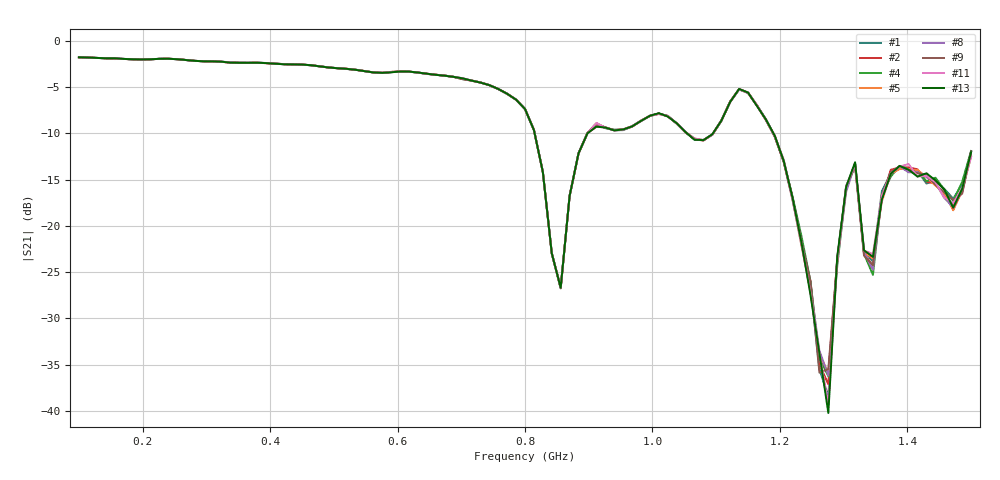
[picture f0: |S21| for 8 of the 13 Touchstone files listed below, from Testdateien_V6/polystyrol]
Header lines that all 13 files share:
! NanoVNA-App
! Start: 100MHz Stop: 1,5GHz Points: 101
! S-Parameter data: F S11 S21 S12 S22
# Hz S RI R 50
!  Frequency  S11_Real  S11_Imag  S21_Real  S21_Imag  S12_Real  S12_Imag  S22_Real  S22_Imag
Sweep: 100 MHz to 1.5 GHz
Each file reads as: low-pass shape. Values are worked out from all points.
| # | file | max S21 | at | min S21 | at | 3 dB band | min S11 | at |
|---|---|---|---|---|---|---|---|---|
| 1 | polystyrol (104).s2p | -1.79 dB | 100 MHz | -38.4 dB | 1.276 GHz | 100 MHz-730 MHz | -39.2 dB | 128 MHz |
| 2 | polystyrol (107).s2p | -1.79 dB | 100 MHz | -37.1 dB | 1.276 GHz | 100 MHz-730 MHz | -39.3 dB | 128 MHz |
| 3 | polystyrol (108).s2p | -1.79 dB | 100 MHz | -35.5 dB | 1.262 GHz | 100 MHz-730 MHz | -39.3 dB | 128 MHz |
| 4 | polystyrol (110).s2p | -1.79 dB | 100 MHz | -36.2 dB | 1.276 GHz | 100 MHz-730 MHz | -39.3 dB | 128 MHz |
| 5 | polystyrol (111).s2p | -1.79 dB | 100 MHz | -35.9 dB | 1.276 GHz | 100 MHz-730 MHz | -39.2 dB | 128 MHz |
| 6 | polystyrol (112).s2p | -1.79 dB | 100 MHz | -38.0 dB | 1.276 GHz | 100 MHz-730 MHz | -39.2 dB | 128 MHz |
| 7 | polystyrol (113).s2p | -1.79 dB | 100 MHz | -37.1 dB | 1.276 GHz | 100 MHz-730 MHz | -39.3 dB | 128 MHz |
| 8 | polystyrol (115).s2p | -1.79 dB | 100 MHz | -36.2 dB | 1.276 GHz | 100 MHz-730 MHz | -39.2 dB | 128 MHz |
| 9 | polystyrol (116).s2p | -1.79 dB | 100 MHz | -35.9 dB | 1.262 GHz | 100 MHz-730 MHz | -39.2 dB | 128 MHz |
| 10 | polystyrol (117).s2p | -1.79 dB | 100 MHz | -38.4 dB | 1.276 GHz | 100 MHz-730 MHz | -39.3 dB | 128 MHz |
| 11 | polystyrol (119).s2p | -1.79 dB | 100 MHz | -39.3 dB | 1.276 GHz | 100 MHz-730 MHz | -39.2 dB | 128 MHz |
| 12 | polystyrol (120).s2p | -1.79 dB | 100 MHz | -35.7 dB | 1.262 GHz | 100 MHz-730 MHz | -39.2 dB | 128 MHz |
| 13 | polystyrol (121).s2p | -1.79 dB | 100 MHz | -40.2 dB | 1.276 GHz | 100 MHz-730 MHz | -39.3 dB | 128 MHz |
